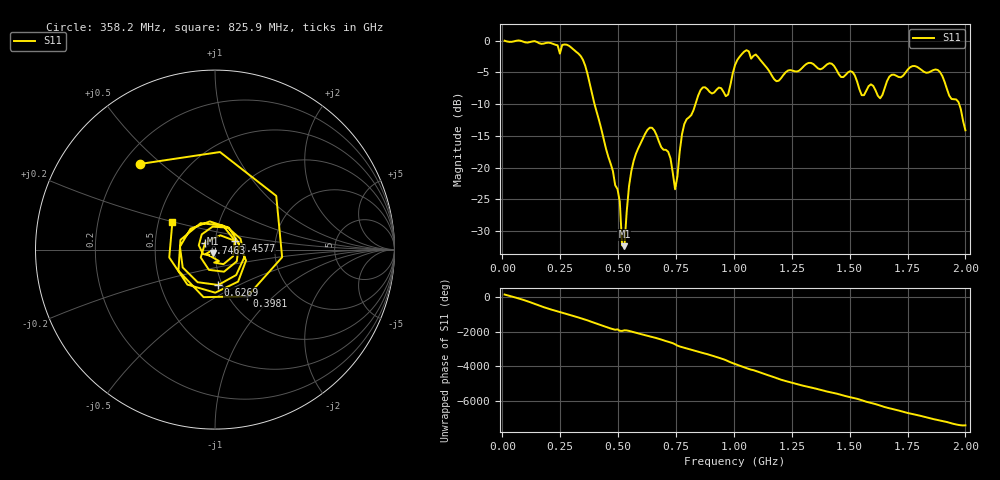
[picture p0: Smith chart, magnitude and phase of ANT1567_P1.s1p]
!Created with skrf (http://scikit-rf.org).
# Hz S RI R 50.0
!freq ReS11 ImS11
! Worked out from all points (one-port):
!   201 points, 10 MHz to 2 GHz, reference 50 ohm
!   lowest |S11| = -32.4 dB at 527.4 MHz (marker M1), VSWR 1.05, Z = 48.6 - j1.9 ohm
!   |S11| at or under -10 dB: 398.2 MHz to 834.2 MHz (436 MHz wide, 70.8 % of centre); 1.973 GHz to end of sweep
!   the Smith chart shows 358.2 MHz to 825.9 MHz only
!   S11 on the Smith chart (normalised r, x): 358.2 MHz: 0.27, +0.43; 398.1 MHz: 1.22, -0.70; 457.8 MHz: 1.24, +0.13; 626.9 MHz: 0.96, -0.39; 746.3 MHz: 0.89, +0.07; 825.9 MHz: 0.59, +0.20
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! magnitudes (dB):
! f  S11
! 10 MHz  0.0
! 258.8 MHz  -0.7
! 358.2 MHz  -4.0
! 398.1 MHz  -10.0
! 457.8 MHz  -18.3
! 507.5 MHz  -25.4
! 517.5 MHz  -32.3
! 527.4 MHz  -32.4
! 557.2 MHz  -20.6
! 626.9 MHz  -14.1
! 716.5 MHz  -17.5
! 746.3 MHz  -23.4
! 756.2 MHz  -21.4
! 786.1 MHz  -13.2
! 825.9 MHz  -11.0
! 865.7 MHz  -7.4
! 975.1 MHz  -8.5
! 1.005 GHz  -3.9
! 1.055 GHz  -1.5
! 1.184 GHz  -6.4
! 1.254 GHz  -4.7
! 1.502 GHz  -4.8
! 1.552 GHz  -8.6
! 1.632 GHz  -9.1
! 1.751 GHz  -4.6
! 1.891 GHz  -5.0
! 1.97 GHz  -9.7
! 2 GHz  -14.1
